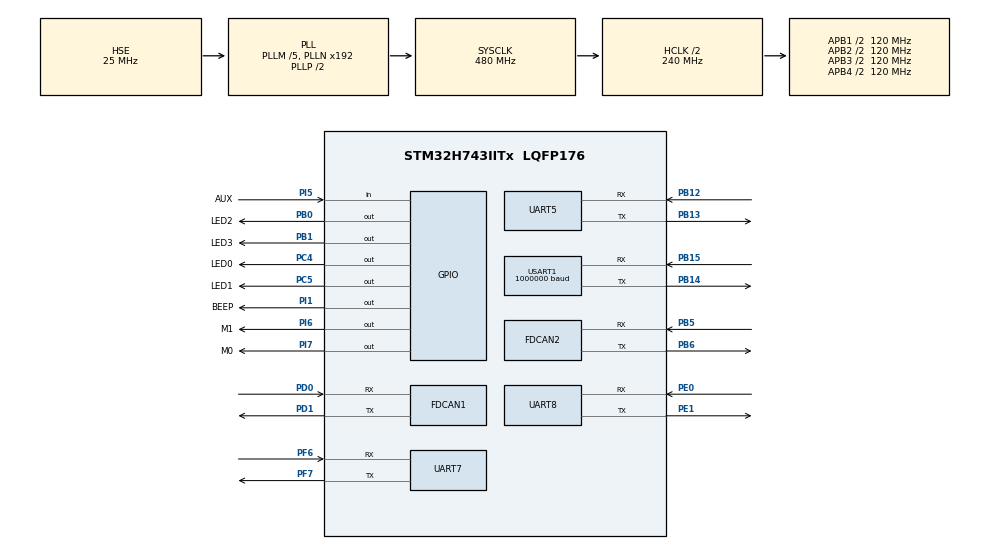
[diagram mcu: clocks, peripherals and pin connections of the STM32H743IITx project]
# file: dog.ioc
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CORTEX_M7.default_mode_Activation=1
Dma.Request0=UART8_RX
Dma.Request1=UART7_RX
Dma.Request2=UART7_TX
Dma.UART7_RX.1.Direction=DMA_PERIPH_TO_MEMORY
Dma.UART7_RX.1.EventEnable=DISABLE
Dma.UART7_RX.1.FIFOMode=DMA_FIFOMODE_DISABLE
Dma.UART7_RX.1.Instance=DMA1_Stream1
Dma.UART7_RX.1.MemDataAlignment=DMA_MDATAALIGN_BYTE
Dma.UART7_RX.1.MemInc=DMA_MINC_ENABLE
Dma.UART7_RX.1.Mode=DMA_NORMAL
Dma.UART7_RX.1.PeriphDataAlignment=DMA_PDATAALIGN_BYTE
Dma.UART7_RX.1.PeriphInc=DMA_PINC_DISABLE
Dma.UART7_RX.1.Polarity=HAL_DMAMUX_REQ_GEN_RISING
Dma.UART7_RX.1.Priority=DMA_PRIORITY_LOW
Dma.UART7_RX.1.RequestNumber=1
Dma.UART7_RX.1.SignalID=NONE
Dma.UART7_RX.1.SyncEnable=DISABLE
Dma.UART7_RX.1.SyncPolarity=HAL_DMAMUX_SYNC_NO_EVENT
Dma.UART7_RX.1.SyncRequestNumber=1
Dma.UART7_RX.1.SyncSignalID=NONE
Dma.UART7_TX.2.Direction=DMA_MEMORY_TO_PERIPH
Dma.UART7_TX.2.EventEnable=DISABLE
Dma.UART7_TX.2.FIFOMode=DMA_FIFOMODE_DISABLE
Dma.UART7_TX.2.Instance=DMA1_Stream2
Dma.UART7_TX.2.MemDataAlignment=DMA_MDATAALIGN_BYTE
Dma.UART7_TX.2.MemInc=DMA_MINC_ENABLE
Dma.UART7_TX.2.Mode=DMA_NORMAL
Dma.UART7_TX.2.PeriphDataAlignment=DMA_PDATAALIGN_BYTE
Dma.UART7_TX.2.PeriphInc=DMA_PINC_DISABLE
Dma.UART7_TX.2.Polarity=HAL_DMAMUX_REQ_GEN_RISING
Dma.UART7_TX.2.Priority=DMA_PRIORITY_LOW
Dma.UART7_TX.2.RequestNumber=1
Dma.UART7_TX.2.SignalID=NONE
Dma.UART7_TX.2.SyncEnable=DISABLE
Dma.UART7_TX.2.SyncPolarity=HAL_DMAMUX_SYNC_NO_EVENT
Dma.UART7_TX.2.SyncRequestNumber=1
Dma.UART7_TX.2.SyncSignalID=NONE
Dma.UART8_RX.0.Direction=DMA_PERIPH_TO_MEMORY
Dma.UART8_RX.0.EventEnable=DISABLE
Dma.UART8_RX.0.FIFOMode=DMA_FIFOMODE_DISABLE
Dma.UART8_RX.0.Instance=DMA1_Stream0
Dma.UART8_RX.0.MemDataAlignment=DMA_MDATAALIGN_BYTE
Dma.UART8_RX.0.MemInc=DMA_MINC_ENABLE
Dma.UART8_RX.0.Mode=DMA_NORMAL
Dma.UART8_RX.0.PeriphDataAlignment=DMA_PDATAALIGN_BYTE
Dma.UART8_RX.0.PeriphInc=DMA_PINC_DISABLE
Dma.UART8_RX.0.Polarity=HAL_DMAMUX_REQ_GEN_RISING
Dma.UART8_RX.0.Priority=DMA_PRIORITY_LOW
Dma.UART8_RX.0.RequestNumber=1
Dma.UART8_RX.0.SignalID=NONE
Dma.UART8_RX.0.SyncEnable=DISABLE
Dma.UART8_RX.0.SyncPolarity=HAL_DMAMUX_SYNC_NO_EVENT
Dma.UART8_RX.0.SyncRequestNumber=1
Dma.UART8_RX.0.SyncSignalID=NONE
FDCAN1.CalculateBaudRateNominal=1000000
FDCAN1.CalculateTimeBitNominal=1000
FDCAN1.CalculateTimeQuantumNominal=50.0
FDCAN1.NominalPrescaler=6
FDCAN1.NominalTimeSeg1=16
FDCAN1.NominalTimeSeg2=3
FDCAN2.CalculateBaudRateNominal=1000000
FDCAN2.CalculateTimeBitNominal=1000
FDCAN2.CalculateTimeQuantumNominal=50.0
FDCAN2.NominalPrescaler=6
FDCAN2.NominalTimeSeg1=16
FDCAN2.NominalTimeSeg2=3
FREERTOS.Tasks01=uart7TransTask,24,256,StartUart7TransTask,As weak,NULL,Dynamic,NULL,NULL;uart8RecTask,8,512,StartUart8RecTask,As weak,NULL,Dynamic,NULL,NULL;can1RecTask,8,256,StartCan1RecTask,As weak,NULL,Dynamic,NULL,NULL;can2RecTask,8,256,StartCan2RecTask,As weak,NULL,Dynamic,NULL,NULL;imuTask,8,256,StartImuTask,As weak,NULL,Dynamic,NULL,NULL;beepTask,8,256,StartBeepTask,As weak,NULL,Dynamic,NULL,NULL;ledTask,8,128,StartLedTask,As weak,NULL,Dynamic,NULL,NULL;uart7RecTask,8,512,Startuart7RecTask,As weak,NULL,Dynamic,NULL,NULL;can1TransTask,8,512,StartCan1TransTask,As weak,NULL,Dynamic,NULL,NULL;can2TransTask,8,512,StartCan2TransTask,As weak,NULL,Dynamic,NULL,NULL
FREERTOS.configENABLE_FPU=0
FREERTOS.configTOTAL_HEAP_SIZE=32768
FREERTOS.configUSE_NEWLIB_REENTRANT=0
Mcu.Family=STM32H7
Mcu.Name=STM32H743IITx
Mcu.Package=LQFP176
NVIC.DMA1_Stream0_IRQn=true\:5\:0\:false\:false\:true\:true\:false\:true\:true
NVIC.DMA1_Stream1_IRQn=true\:5\:0\:false\:false\:true\:true\:false\:true\:true
NVIC.DMA1_Stream2_IRQn=true\:5\:0\:false\:false\:true\:true\:false\:true\:true
NVIC.FDCAN1_IT0_IRQn=true\:5\:0\:false\:false\:true\:true\:true\:true\:true
NVIC.FDCAN1_IT1_IRQn=true\:5\:0\:false\:false\:true\:true\:true\:true\:true
NVIC.FDCAN2_IT0_IRQn=true\:5\:0\:false\:false\:true\:true\:true\:true\:true
NVIC.FDCAN2_IT1_IRQn=true\:5\:0\:false\:false\:true\:true\:true\:true\:true
NVIC.FDCAN_CAL_IRQn=true\:5\:0\:false\:false\:true\:true\:true\:true\:true
NVIC.FPU_IRQn=true\:5\:0\:false\:false\:true\:true\:true\:false\:true
NVIC.PriorityGroup=NVIC_PRIORITYGROUP_4
NVIC.TIM6_DAC_IRQn=true\:15\:0\:false\:false\:true\:false\:false\:true\:true
NVIC.TimeBase=TIM6_DAC_IRQn
NVIC.TimeBaseIP=TIM6
NVIC.UART7_IRQn=true\:5\:0\:false\:false\:true\:true\:true\:true\:true
NVIC.UART8_IRQn=true\:5\:0\:false\:false\:true\:true\:true\:true\:true
PA13\ (JTMS/SWDIO).Mode=Serial_Wire
PA13\ (JTMS/SWDIO).Signal=DEBUG_JTMS-SWDIO
PA14\ (JTCK/SWCLK).Mode=Serial_Wire
PA14\ (JTCK/SWCLK).Signal=DEBUG_JTCK-SWCLK
PB0.GPIO_Label=LED2
PB0.PinState=GPIO_PIN_SET
PB0.Signal=GPIO_Output
PB1.GPIO_Label=LED3
PB1.PinState=GPIO_PIN_SET
PB1.Signal=GPIO_Output
PB12.Mode=Asynchronous
PB12.Signal=UART5_RX
PB13.Mode=Asynchronous
PB13.Signal=UART5_TX
PB14.Mode=Asynchronous
PB14.Signal=USART1_TX
PB15.Mode=Asynchronous
PB15.Signal=USART1_RX
PB5.Mode=FDCAN_Activate
PB5.Signal=FDCAN2_RX
PB6.Mode=FDCAN_Activate
PB6.Signal=FDCAN2_TX
PC14-OSC32_IN\ (OSC32_IN).Mode=LSE-External-Oscillator
PC14-OSC32_IN\ (OSC32_IN).Signal=RCC_OSC32_IN
PC15-OSC32_OUT\ (OSC32_OUT).Mode=LSE-External-Oscillator
PC15-OSC32_OUT\ (OSC32_OUT).Signal=RCC_OSC32_OUT
PC4.GPIO_Label=LED0
PC4.PinState=GPIO_PIN_SET
PC4.Signal=GPIO_Output
PC5.GPIO_Label=LED1
PC5.PinState=GPIO_PIN_SET
PC5.Signal=GPIO_Output
PD0.Mode=FDCAN_Activate
PD0.Signal=FDCAN1_RX
PD1.Mode=FDCAN_Activate
PD1.Signal=FDCAN1_TX
PE0.Mode=Asynchronous
PE0.Signal=UART8_RX
PE1.Mode=Asynchronous
PE1.Signal=UART8_TX
PF6.Mode=Asynchronous
PF6.Signal=UART7_RX
PF7.Mode=Asynchronous
PF7.Signal=UART7_TX
PH0-OSC_IN\ (PH0).Mode=HSE-External-Oscillator
PH0-OSC_IN\ (PH0).Signal=RCC_OSC_IN
PH1-OSC_OUT\ (PH1).Mode=HSE-External-Oscillator
PH1-OSC_OUT\ (PH1).Signal=RCC_OSC_OUT
PI1.GPIO_Label=BEEP
PI1.GPIO_ModeDefaultOutputPP=GPIO_MODE_OUTPUT_PP
PI1.GPIO_PuPd=GPIO_NOPULL
PI1.PinState=GPIO_PIN_RESET
PI1.Signal=GPIO_Output
PI5.GPIO_Label=AUX
PI5.Signal=GPIO_Input
PI6.GPIO_Label=M1
PI6.Signal=GPIO_Output
PI7.GPIO_Label=M0
PI7.Signal=GPIO_Output
ProjectManager.HeapSize=0x1000
ProjectManager.StackSize=0x1000
ProjectManager.TargetToolchain=STM32CubeIDE
RCC.ADCFreq_Value=50390625
RCC.APB1Freq_Value=120000000
RCC.APB2Freq_Value=120000000
RCC.APB3Freq_Value=120000000
RCC.APB4Freq_Value=120000000
RCC.CortexFreq_Value=480000000
RCC.D1PPRE=RCC_APB3_DIV2
RCC.D2PPRE1=RCC_APB1_DIV2
RCC.D2PPRE2=RCC_APB2_DIV2
RCC.D3PPRE=RCC_APB4_DIV2
RCC.DIVM1=5
RCC.DIVN1=192
RCC.DIVQ1=8
RCC.HCLKFreq_Value=240000000
RCC.HPRE=RCC_HCLK_DIV2
RCC.PLL2FRACN=0
RCC.PLL3FRACN=0
RCC.PLLFRACN=0
RCC.PLLSourceVirtual=RCC_PLLSOURCE_HSE
RCC.SYSCLKFreq_VALUE=480000000
RCC.SYSCLKSource=RCC_SYSCLKSOURCE_PLLCLK
RCC.USBFreq_Value=120000000
USART1.BaudRate=1000000
USART1.VirtualMode-Asynchronous=VM_ASYNC
VP_FREERTOS_VS_CMSIS_V2.Mode=CMSIS_V2
VP_MEMORYMAP_VS_MEMORYMAP.Mode=CurAppReg
VP_SYS_VS_tim6.Mode=TIM6
board=custom

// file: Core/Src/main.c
/* USER CODE BEGIN Header */
/**
  ******************************************************************************
  * @file           : main.c
  * @brief          : Main program body
  ******************************************************************************
  * @attention
  *
  * Copyright (c) 2026 STMicroelectronics.
  * All rights reserved.
  *
  * This software is licensed under terms that can be found in the LICENSE file
  * in the root directory of this software component.
  * If no LICENSE file comes with this software, it is provided AS-IS.
  *
  ******************************************************************************
  */
/* USER CODE END Header */
#include "main.h"
#include "cmsis_os.h"
#include "dma.h"
#include "fdcan.h"
#include "usart.h"
#include "gpio.h"

/* USER CODE BEGIN Includes */
#include "app_tasks.h"
/* USER CODE END Includes */

void SystemClock_Config(void);
static void MPU_Config(void);
void MX_FREERTOS_Init(void);

int main(void)
{

  /* USER CODE BEGIN 1 */
  HAL_DeInit();
  HAL_RCC_DeInit();
  /* USER CODE END 1 */

  /* MPU Configuration--------------------------------------------------------*/
  MPU_Config();

  /* MCU Configuration--------------------------------------------------------*/

  /* Reset of all peripherals, Initializes the Flash interface and the Systick. */
  HAL_Init();

  /* Configure the system clock */
  SystemClock_Config();

  /* Initialize all configured peripherals */
  MX_GPIO_Init();
  MX_DMA_Init();
  MX_UART8_Init();
  MX_UART5_Init();
  MX_UART7_Init();
  MX_USART1_UART_Init();
  MX_FDCAN1_Init();
  MX_FDCAN2_Init();
  /* USER CODE BEGIN 2 */
  // MicroRos_RunInMain();
  /* USER CODE END 2 */

  /* Init scheduler */
  osKernelInitialize();  /* Call init function for freertos objects (in cmsis_os2.c) */
  MX_FREERTOS_Init();

  /* Start scheduler */
  osKernelStart();

  /* We should never get here as control is now taken by the scheduler */

  /* Infinite loop */
  while (1)
  {

  }
}

void SystemClock_Config(void)
{
  RCC_OscInitTypeDef RCC_OscInitStruct = {0};
  RCC_ClkInitTypeDef RCC_ClkInitStruct = {0};

  /** Supply configuration update enable
  */
  HAL_PWREx_ConfigSupply(PWR_LDO_SUPPLY);

  /** Configure the main internal regulator output voltage
  */
  __HAL_PWR_VOLTAGESCALING_CONFIG(PWR_REGULATOR_VOLTAGE_SCALE0);

  while(!__HAL_PWR_GET_FLAG(PWR_FLAG_VOSRDY)) {}

  /** Initializes the RCC Oscillators according to the specified parameters
  * in the RCC_OscInitTypeDef structure.
  */
  RCC_OscInitStruct.OscillatorType = RCC_OSCILLATORTYPE_HSE;
  RCC_OscInitStruct.HSEState = RCC_HSE_ON;
  RCC_OscInitStruct.PLL.PLLState = RCC_PLL_ON;
  RCC_OscInitStruct.PLL.PLLSource = RCC_PLLSOURCE_HSE;
  RCC_OscInitStruct.PLL.PLLM = 5;
  RCC_OscInitStruct.PLL.PLLN = 192;
  RCC_OscInitStruct.PLL.PLLP = 2;
  RCC_OscInitStruct.PLL.PLLQ = 8;
  RCC_OscInitStruct.PLL.PLLR = 2;
  RCC_OscInitStruct.PLL.PLLRGE = RCC_PLL1VCIRANGE_2;
  RCC_OscInitStruct.PLL.PLLVCOSEL = RCC_PLL1VCOWIDE;
  RCC_OscInitStruct.PLL.PLLFRACN = 0;
  if (HAL_RCC_OscConfig(&RCC_OscInitStruct) != HAL_OK)
  {
    Error_Handler();
  }

  /** Initializes the CPU, AHB and APB buses clocks
  */
  RCC_ClkInitStruct.ClockType = RCC_CLOCKTYPE_HCLK|RCC_CLOCKTYPE_SYSCLK
                              |RCC_CLOCKTYPE_PCLK1|RCC_CLOCKTYPE_PCLK2
                              |RCC_CLOCKTYPE_D3PCLK1|RCC_CLOCKTYPE_D1PCLK1;
  RCC_ClkInitStruct.SYSCLKSource = RCC_SYSCLKSOURCE_PLLCLK;
  RCC_ClkInitStruct.SYSCLKDivider = RCC_SYSCLK_DIV1;
  RCC_ClkInitStruct.AHBCLKDivider = RCC_HCLK_DIV2;
  RCC_ClkInitStruct.APB3CLKDivider = RCC_APB3_DIV2;
  RCC_ClkInitStruct.APB1CLKDivider = RCC_APB1_DIV2;
  RCC_ClkInitStruct.APB2CLKDivider = RCC_APB2_DIV2;
  RCC_ClkInitStruct.APB4CLKDivider = RCC_APB4_DIV2;

  if (HAL_RCC_ClockConfig(&RCC_ClkInitStruct, FLASH_LATENCY_4) != HAL_OK)
  {
    Error_Handler();
  }
}

 /* MPU Configuration */

void MPU_Config(void)
{
  MPU_Region_InitTypeDef MPU_InitStruct = {0};

  /* Disables the MPU */
  HAL_MPU_Disable();

  /** Initializes and configures the Region and the memory to be protected
  */
  MPU_InitStruct.Enable = MPU_REGION_ENABLE;
  MPU_InitStruct.Number = MPU_REGION_NUMBER0;
  MPU_InitStruct.BaseAddress = 0x0;
  MPU_InitStruct.Size = MPU_REGION_SIZE_4GB;
  MPU_InitStruct.SubRegionDisable = 0x87;
  MPU_InitStruct.TypeExtField = MPU_TEX_LEVEL0;
  MPU_InitStruct.AccessPermission = MPU_REGION_NO_ACCESS;
  MPU_InitStruct.DisableExec = MPU_INSTRUCTION_ACCESS_DISABLE;
  MPU_InitStruct.IsShareable = MPU_ACCESS_SHAREABLE;
  MPU_InitStruct.IsCacheable = MPU_ACCESS_NOT_CACHEABLE;
  MPU_InitStruct.IsBufferable = MPU_ACCESS_NOT_BUFFERABLE;

  HAL_MPU_ConfigRegion(&MPU_InitStruct);
  /* Enables the MPU */
  HAL_MPU_Enable(MPU_PRIVILEGED_DEFAULT);

}

void HAL_TIM_PeriodElapsedCallback(TIM_HandleTypeDef *htim)
{
  if (htim->Instance == TIM6)
  {
    HAL_IncTick();
  }
}

void Error_Handler(void)
{
  __disable_irq();
  while (1)
  {
  }
}

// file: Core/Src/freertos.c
/* USER CODE BEGIN Header */
/**
  ******************************************************************************
  * File Name          : freertos.c
  * Description        : Code for freertos applications
  ******************************************************************************
  * @attention
  *
  * Copyright (c) 2026 STMicroelectronics.
  * All rights reserved.
  *
  * This software is licensed under terms that can be found in the LICENSE file
  * in the root directory of this software component.
  * If no LICENSE file comes with this software, it is provided AS-IS.
  *
  ******************************************************************************
  */
/* USER CODE END Header */

#include "FreeRTOS.h"
#include "task.h"
#include "main.h"
#include "cmsis_os.h"

/* USER CODE BEGIN Includes */
#include "app_tasks.h"
/* USER CODE END Includes */

/* Definitions for uart7TransTask */
osThreadId_t uart7TransTaskHandle;
const osThreadAttr_t uart7TransTask_attributes = {
  .name = "uart7TransTask",
  .stack_size = 256 * 4,
  .priority = (osPriority_t) osPriorityNormal,
};
/* Definitions for uart8RecTask */
osThreadId_t uart8RecTaskHandle;
const osThreadAttr_t uart8RecTask_attributes = {
  .name = "uart8RecTask",
  .stack_size = 512 * 4,
  .priority = (osPriority_t) osPriorityLow,
};
/* Definitions for can1RecTask */
osThreadId_t can1RecTaskHandle;
const osThreadAttr_t can1RecTask_attributes = {
  .name = "can1RecTask",
  .stack_size = 256 * 4,
  .priority = (osPriority_t) osPriorityLow,
};
/* Definitions for can2RecTask */
osThreadId_t can2RecTaskHandle;
const osThreadAttr_t can2RecTask_attributes = {
  .name = "can2RecTask",
  .stack_size = 256 * 4,
  .priority = (osPriority_t) osPriorityLow,
};
/* Definitions for imuTask */
osThreadId_t imuTaskHandle;
const osThreadAttr_t imuTask_attributes = {
  .name = "imuTask",
  .stack_size = 256 * 4,
  .priority = (osPriority_t) osPriorityLow,
};
/* Definitions for beepTask */
osThreadId_t beepTaskHandle;
const osThreadAttr_t beepTask_attributes = {
  .name = "beepTask",
  .stack_size = 256 * 4,
  .priority = (osPriority_t) osPriorityLow,
};
/* Definitions for ledTask */
osThreadId_t ledTaskHandle;
const osThreadAttr_t ledTask_attributes = {
  .name = "ledTask",
  .stack_size = 128 * 4,
  .priority = (osPriority_t) osPriorityLow,
};
/* Definitions for uart7RecTask */
osThreadId_t uart7RecTaskHandle;
const osThreadAttr_t uart7RecTask_attributes = {
  .name = "uart7RecTask",
  .stack_size = 512 * 4,
  .priority = (osPriority_t) osPriorityLow,
};
/* Definitions for can1TransTask */
osThreadId_t can1TransTaskHandle;
const osThreadAttr_t can1TransTask_attributes = {
  .name = "can1TransTask",
  .stack_size = 512 * 4,
  .priority = (osPriority_t) osPriorityLow,
};
/* Definitions for can2TransTask */
osThreadId_t can2TransTaskHandle;
const osThreadAttr_t can2TransTask_attributes = {
  .name = "can2TransTask",
  .stack_size = 512 * 4,
  .priority = (osPriority_t) osPriorityLow,
};

/* USER CODE BEGIN FunctionPrototypes */
/* Definitions for MicrorosTransTask */
osThreadId_t microRosTaskHandle;
const osThreadAttr_t microRosTask_attributes = {
  .name = "microRosTask",
  .stack_size = 3072 * 4,
  .priority = (osPriority_t) osPriorityLow,
};
/* USER CODE END FunctionPrototypes */

void StartUart7TransTask(void *argument);
void StartUart8RecTask(void *argument);
void StartCan1RecTask(void *argument);
void StartCan2RecTask(void *argument);
void StartImuTask(void *argument);
void StartBeepTask(void *argument);
void StartLedTask(void *argument);
void Startuart7RecTask(void *argument);
void StartCan1TransTask(void *argument);
void StartCan2TransTask(void *argument);
void StartMicroRosTask(void *argument);

void MX_FREERTOS_Init(void); /* (MISRA C 2004 rule 8.1) */

void MX_FREERTOS_Init(void) {

  /* USER CODE BEGIN RTOS_QUEUES */
  /* add queues, ... */
  AppTasks_InitRuntime();
  /* USER CODE END RTOS_QUEUES */

  /* Create the thread(s) */
  /* creation of uart7TransTask */
  // uart7TransTaskHandle = osThreadNew(StartUart7TransTask, NULL, &uart7TransTask_attributes);

  /* creation of uart8RecTask */
  uart8RecTaskHandle = osThreadNew(StartUart8RecTask, NULL, &uart8RecTask_attributes);

  /* creation of can1RecTask */
  can1RecTaskHandle = osThreadNew(StartCan1RecTask, NULL, &can1RecTask_attributes);

  /* creation of can2RecTask */
  can2RecTaskHandle = osThreadNew(StartCan2RecTask, NULL, &can2RecTask_attributes);

  /* creation of imuTask */
  imuTaskHandle = osThreadNew(StartImuTask, NULL, &imuTask_attributes);

  /* creation of beepTask */
  beepTaskHandle = osThreadNew(StartBeepTask, NULL, &beepTask_attributes);

  /* creation of ledTask */
  // ledTaskHandle = osThreadNew(StartLedTask, NULL, &ledTask_attributes);

  /* creation of uart7RecTask */
  // uart7RecTaskHandle = osThreadNew(Startuart7RecTask, NULL, &uart7RecTask_attributes);

  /* creation of can1TransTask */
  can1TransTaskHandle = osThreadNew(StartCan1TransTask, NULL, &can1TransTask_attributes);

  /* creation of can2TransTask */
  can2TransTaskHandle = osThreadNew(StartCan2TransTask, NULL, &can2TransTask_attributes);

  /* USER CODE BEGIN RTOS_THREADS */
  /* add threads, ... */
  /* creation of MicrorosTransTask */
  microRosTaskHandle = osThreadNew(StartMicroRosTask, NULL, &microRosTask_attributes);
  /* USER CODE END RTOS_THREADS */

}

__weak void StartUart7TransTask(void *argument)
{
  for(;;)
  {
    osDelay(1);
  }
}

__weak void StartUart8RecTask(void *argument)
{
  for(;;)
  {
    osDelay(1);
  }
}

__weak void StartCan1RecTask(void *argument)
{
  for(;;)
  {
    osDelay(1);
  }
}

__weak void StartCan2RecTask(void *argument)
{
  for(;;)
  {
    osDelay(1);
  }
}

__weak void StartImuTask(void *argument)
{
  for(;;)
  {
    osDelay(1);
  }
}

__weak void StartBeepTask(void *argument)
{
  /* USER CODE BEGIN StartBeepTask */
  uint8_t remoter_presse_flag = 0;
  /* Infinite loop */
  for(;;)
  {
    // if (count_press)
    // {
    //   count_press--;
    //   if (count_press <= 0)
    //   {
    //     count_press = 0U;
    //     HAL_GPIO_WritePin(BEEP_GPIO_Port, BEEP_Pin, GPIO_PIN_RESET);
    //   }
    // }
    // HAL_UART_Transmit(&huart7, remoter_tx_buf, remoter_rx_dma_buf_len, 100);
    HAL_GPIO_TogglePin(BEEP_GPIO_Port, BEEP_Pin);
    osDelay(500);
  }
  /* USER CODE END StartBeepTask */
}

__weak void StartLedTask(void *argument)
{
  /* USER CODE BEGIN StartLedTask */
  /* Infinite loop */
  for(;;)
  {
    // HAL_GPIO_WritePin(LED0_GPIO_Port, LED0_Pin, GPIO_PIN_SET);
    HAL_GPIO_TogglePin(LED0_GPIO_Port, LED0_Pin);
    osDelay(500);
  }
  /* USER CODE END StartLedTask */
}

__weak void Startuart7RecTask(void *argument)
{
  for(;;)
  {
    osDelay(1);
  }
}

__weak void StartCan1TransTask(void *argument)
{
  for(;;)
  {
    osDelay(1);
  }
}

__weak void StartCan2TransTask(void *argument)
{
  for(;;)
  {
    osDelay(1);
  }
}

/* USER CODE BEGIN Application */

void vApplicationStackOverflowHook(TaskHandle_t xTask, char *pcTaskName)
{
  (void)xTask;
  (void)pcTaskName;

  __disable_irq();
  for (;;)
  {
  }
}

/* USER CODE END Application */
